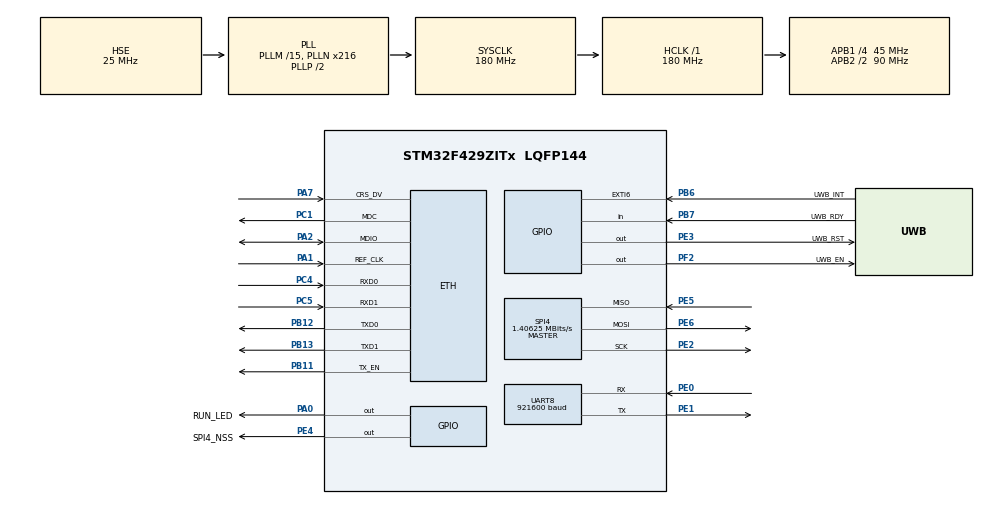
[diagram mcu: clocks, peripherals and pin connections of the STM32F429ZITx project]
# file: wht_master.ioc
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Dma.Request0=UART8_TX
Dma.UART8_TX.0.Direction=DMA_MEMORY_TO_PERIPH
Dma.UART8_TX.0.FIFOMode=DMA_FIFOMODE_DISABLE
Dma.UART8_TX.0.Instance=DMA1_Stream0
Dma.UART8_TX.0.MemDataAlignment=DMA_MDATAALIGN_BYTE
Dma.UART8_TX.0.MemInc=DMA_MINC_ENABLE
Dma.UART8_TX.0.Mode=DMA_NORMAL
Dma.UART8_TX.0.PeriphDataAlignment=DMA_PDATAALIGN_BYTE
Dma.UART8_TX.0.PeriphInc=DMA_PINC_DISABLE
Dma.UART8_TX.0.Priority=DMA_PRIORITY_LOW
ETH.MediaInterface=HAL_ETH_RMII_MODE
FREERTOS.Tasks01=defaultTask,24,2048,StartDefaultTask,Default,NULL,Dynamic,NULL,NULL
FREERTOS.configTOTAL_HEAP_SIZE=153600
LWIP.BSP.number=1
LWIP.GATEWAY_ADDRESS=192.168.000.001
LWIP.IP_ADDRESS=192.168.000.002
LWIP.LWIP_DHCP=0
LWIP.LWIP_NETIF_STATUS_CALLBACK=1
LWIP.LWIP_TCP=0
LWIP.MEMP_NUM_PBUF=100
LWIP.MEM_SIZE=10240
LWIP.NETMASK_ADDRESS=255.255.255.000
LWIP.PBUF_POOL_BUFSIZE=1514
LWIP.PBUF_POOL_SIZE=40
LWIP.Version=v2.1.2_Cube
LWIP0.BSP.STBoard=false
LWIP0.BSP.api=BSP_COMPONENT_DRIVER
LWIP0.BSP.component=DP83848
LWIP0.BSP.instance=DP83848
LWIP0.BSP.name=Driver_PHY
LWIP0.BSP.semaphore=S_DP83848
LWIP0.BSP.solution=DP83848
Mcu.Family=STM32F4
Mcu.Name=STM32F429ZITx
Mcu.Package=LQFP144
NVIC.DMA1_Stream0_IRQn=true\:5\:0\:false\:false\:true\:true\:false\:true\:true
NVIC.ETH_IRQn=true\:5\:0\:false\:false\:true\:true\:false\:true\:true
NVIC.EXTI9_5_IRQn=true\:6\:0\:true\:false\:true\:true\:true\:true\:true
NVIC.PriorityGroup=NVIC_PRIORITYGROUP_4
NVIC.TIM6_DAC_IRQn=true\:15\:0\:false\:false\:true\:false\:false\:true\:true
NVIC.TimeBase=TIM6_DAC_IRQn
NVIC.TimeBaseIP=TIM6
NVIC.UART8_IRQn=true\:5\:0\:false\:false\:true\:true\:true\:true\:true
PA0/WKUP.GPIO_Label=RUN_LED
PA0/WKUP.Signal=GPIO_Output
PA1.Mode=RMII
PA1.Signal=ETH_REF_CLK
PA2.Mode=RMII
PA2.Signal=ETH_MDIO
PA7.Mode=RMII
PA7.Signal=ETH_CRS_DV
PB11.Mode=RMII
PB11.Signal=ETH_TX_EN
PB12.Mode=RMII
PB12.Signal=ETH_TXD0
PB13.Mode=RMII
PB13.Signal=ETH_TXD1
PB6.GPIO_Label=UWB_INT
PB6.GPIO_ModeDefaultEXTI=GPIO_MODE_IT_FALLING
PB6.Signal=GPXTI6
PB7.GPIO_Label=UWB_RDY
PB7.Signal=GPIO_Input
PC1.Mode=RMII
PC1.Signal=ETH_MDC
PC4.Mode=RMII
PC4.Signal=ETH_RXD0
PC5.Mode=RMII
PC5.Signal=ETH_RXD1
PE0.Mode=Asynchronous
PE0.Signal=UART8_RX
PE1.Mode=Asynchronous
PE1.Signal=UART8_TX
PE2.Mode=Full_Duplex_Master
PE2.Signal=SPI4_SCK
PE3.GPIO_Label=UWB_RST
PE3.GPIO_Speed=GPIO_SPEED_FREQ_VERY_HIGH
PE3.PinState=GPIO_PIN_SET
PE3.Signal=GPIO_Output
PE4.GPIO_Label=SPI4_NSS
PE4.GPIO_Speed=GPIO_SPEED_FREQ_VERY_HIGH
PE4.PinState=GPIO_PIN_SET
PE4.Signal=GPIO_Output
PE5.Mode=Full_Duplex_Master
PE5.Signal=SPI4_MISO
PE6.Mode=Full_Duplex_Master
PE6.Signal=SPI4_MOSI
PF2.GPIO_Label=UWB_EN
PF2.GPIO_Speed=GPIO_SPEED_FREQ_VERY_HIGH
PF2.PinState=GPIO_PIN_SET
PF2.Signal=GPIO_Output
PH0/OSC_IN.Mode=HSE-External-Oscillator
PH0/OSC_IN.Signal=RCC_OSC_IN
PH1/OSC_OUT.Mode=HSE-External-Oscillator
PH1/OSC_OUT.Signal=RCC_OSC_OUT
ProjectManager.HeapSize=0x200
ProjectManager.StackSize=0x400
ProjectManager.TargetToolchain=CMake
RCC.48MHZClocksFreq_Value=90000000
RCC.AHBFreq_Value=180000000
RCC.APB1CLKDivider=RCC_HCLK_DIV4
RCC.APB1Freq_Value=45000000
RCC.APB1TimFreq_Value=90000000
RCC.APB2CLKDivider=RCC_HCLK_DIV2
RCC.APB2Freq_Value=90000000
RCC.APB2TimFreq_Value=180000000
RCC.CortexFreq_Value=180000000
RCC.HCLKFreq_Value=180000000
RCC.HSE_VALUE=25000000
RCC.HSI_VALUE=16000000
RCC.LSE_VALUE=32768
RCC.PLLM=15
RCC.PLLN=216
RCC.PLLSourceVirtual=RCC_PLLSOURCE_HSE
RCC.SYSCLKFreq_VALUE=180000000
RCC.SYSCLKSource=RCC_SYSCLKSOURCE_PLLCLK
RCC.VCOOutputFreq_Value=360000000
SPI4.BaudRatePrescaler=SPI_BAUDRATEPRESCALER_64
SPI4.CalculateBaudRate=1.40625 MBits/s
SPI4.Direction=SPI_DIRECTION_2LINES
SPI4.Mode=SPI_MODE_MASTER
SPI4.VirtualType=VM_MASTER
TIM2.AutoReloadPreload=TIM_AUTORELOAD_PRELOAD_ENABLE
TIM2.Period=0xFFFFFFFF
TIM2.Prescaler=89
UART8.BaudRate=921600
UART8.VirtualMode=Asynchronous
VP_FREERTOS_VS_CMSIS_V2.Mode=CMSIS_V2
VP_LWIP_VS_Enabled.Mode=Enabled
VP_SYS_VS_tim6.Mode=TIM6
VP_TIM2_VS_ClockSourceINT.Mode=Internal
board=custom

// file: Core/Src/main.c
/* USER CODE BEGIN Header */
/**
 ******************************************************************************
 * @file           : main.c
 * @brief          : Main program body
 ******************************************************************************
 * @attention
 *
 * Copyright (c) 2025 STMicroelectronics.
 * All rights reserved.
 *
 * This software is licensed under terms that can be found in the LICENSE file
 * in the root directory of this software component.
 * If no LICENSE file comes with this software, it is provided AS-IS.
 *
 ******************************************************************************
 */
/* USER CODE END Header */
#include "main.h"
#include "cmsis_os.h"
#include "dma.h"
#include "lwip.h"
#include "spi.h"
#include "tim.h"
#include "usart.h"
#include "gpio.h"

/* USER CODE BEGIN Includes */
#include "elog.h"
/* USER CODE END Includes */

void SystemClock_Config(void);
void MX_FREERTOS_Init(void);

/* USER CODE BEGIN 0 */
void HAL_UART_TxCpltCallback(UART_HandleTypeDef *huart) {
    if (huart->Instance == huart8.Instance) {
        extern osSemaphoreId_t elog_dma_lockHandle;
        osSemaphoreRelease(elog_dma_lockHandle);
    }
}

/* USER CODE END 0 */

int main(void)
{

  /* MCU Configuration--------------------------------------------------------*/

  /* Reset of all peripherals, Initializes the Flash interface and the Systick. */
  HAL_Init();

  /* Configure the system clock */
  SystemClock_Config();

  /* Initialize all configured peripherals */
  MX_GPIO_Init();
  MX_DMA_Init();
  MX_SPI4_Init();
  MX_UART8_Init();
  MX_TIM2_Init();
  /* USER CODE BEGIN 2 */
  elog_init();

  elog_set_fmt(ELOG_LVL_ASSERT, ELOG_FMT_ALL & ~ELOG_FMT_P_INFO);
  elog_set_fmt(ELOG_LVL_ERROR, ELOG_FMT_LVL | ELOG_FMT_TAG | ELOG_FMT_TIME);
  elog_set_fmt(ELOG_LVL_WARN, ELOG_FMT_LVL | ELOG_FMT_TAG | ELOG_FMT_TIME);
  elog_set_fmt(ELOG_LVL_INFO, ELOG_FMT_LVL | ELOG_FMT_TAG | ELOG_FMT_TIME);
  elog_set_fmt(ELOG_LVL_DEBUG, ELOG_FMT_ALL & ~(ELOG_FMT_FUNC | ELOG_FMT_P_INFO));
  elog_set_fmt(ELOG_LVL_VERBOSE, ELOG_FMT_ALL & ~(ELOG_FMT_FUNC | ELOG_FMT_P_INFO));

  elog_start();

  HAL_TIM_Base_Start(&htim2);

  /* USER CODE END 2 */

  /* Init scheduler */
  osKernelInitialize();  /* Call init function for freertos objects (in cmsis_os2.c) */
  MX_FREERTOS_Init();

  /* Start scheduler */
  osKernelStart();

  /* We should never get here as control is now taken by the scheduler */

  /* Infinite loop */
  while (1) {

  }
}

void SystemClock_Config(void)
{
  RCC_OscInitTypeDef RCC_OscInitStruct = {0};
  RCC_ClkInitTypeDef RCC_ClkInitStruct = {0};

  /** Configure the main internal regulator output voltage
  */
  __HAL_RCC_PWR_CLK_ENABLE();
  __HAL_PWR_VOLTAGESCALING_CONFIG(PWR_REGULATOR_VOLTAGE_SCALE1);

  /** Initializes the RCC Oscillators according to the specified parameters
  * in the RCC_OscInitTypeDef structure.
  */
  RCC_OscInitStruct.OscillatorType = RCC_OSCILLATORTYPE_HSE;
  RCC_OscInitStruct.HSEState = RCC_HSE_ON;
  RCC_OscInitStruct.PLL.PLLState = RCC_PLL_ON;
  RCC_OscInitStruct.PLL.PLLSource = RCC_PLLSOURCE_HSE;
  RCC_OscInitStruct.PLL.PLLM = 15;
  RCC_OscInitStruct.PLL.PLLN = 216;
  RCC_OscInitStruct.PLL.PLLP = RCC_PLLP_DIV2;
  RCC_OscInitStruct.PLL.PLLQ = 4;
  if (HAL_RCC_OscConfig(&RCC_OscInitStruct) != HAL_OK)
  {
    Error_Handler();
  }

  /** Activate the Over-Drive mode
  */
  if (HAL_PWREx_EnableOverDrive() != HAL_OK)
  {
    Error_Handler();
  }

  /** Initializes the CPU, AHB and APB buses clocks
  */
  RCC_ClkInitStruct.ClockType = RCC_CLOCKTYPE_HCLK|RCC_CLOCKTYPE_SYSCLK
                              |RCC_CLOCKTYPE_PCLK1|RCC_CLOCKTYPE_PCLK2;
  RCC_ClkInitStruct.SYSCLKSource = RCC_SYSCLKSOURCE_PLLCLK;
  RCC_ClkInitStruct.AHBCLKDivider = RCC_SYSCLK_DIV1;
  RCC_ClkInitStruct.APB1CLKDivider = RCC_HCLK_DIV4;
  RCC_ClkInitStruct.APB2CLKDivider = RCC_HCLK_DIV2;

  if (HAL_RCC_ClockConfig(&RCC_ClkInitStruct, FLASH_LATENCY_5) != HAL_OK)
  {
    Error_Handler();
  }
}

void HAL_TIM_PeriodElapsedCallback(TIM_HandleTypeDef *htim)
{
  if (htim->Instance == TIM6)
  {
    HAL_IncTick();
  }
}

void Error_Handler(void)
{
  __disable_irq();
  while (1) {
  }
}
#ifdef USE_FULL_ASSERT
/**
  * @brief  Reports the name of the source file and the source line number
  *         where the assert_param error has occurred.
  * @param  file: pointer to the source file name
  * @param  line: assert_param error line source number
  * @retval None
  */
void assert_failed(uint8_t *file, uint32_t line)
{
  /* USER CODE BEGIN 6 */
  /* User can add his own implementation to report the file name and line
     number, ex: printf("Wrong parameters value: file %s on line %d\r\n", file,
     line) */
  /* USER CODE END 6 */
}
#endif /* USE_FULL_ASSERT */

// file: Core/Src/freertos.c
/* USER CODE BEGIN Header */
/**
 ******************************************************************************
 * File Name          : freertos.c
 * Description        : Code for freertos applications
 ******************************************************************************
 * @attention
 *
 * Copyright (c) 2025 STMicroelectronics.
 * All rights reserved.
 *
 * This software is licensed under terms that can be found in the LICENSE file
 * in the root directory of this software component.
 * If no LICENSE file comes with this software, it is provided AS-IS.
 *
 ******************************************************************************
 */
/* USER CODE END Header */

#include "FreeRTOS.h"

#include "cmsis_os.h"
#include "main.h"
#include "task.h"

/* USER CODE BEGIN Includes */
#include <stdio.h>

#include "gpio.h"
#include "usart.h"
#include "elog.h"

/* USER CODE END Includes */

/* USER CODE BEGIN PTD */
typedef StaticTask_t osStaticThreadDef_t;
/* USER CODE END PTD */

/* Definitions for defaultTask */
osThreadId_t defaultTaskHandle;
const osThreadAttr_t defaultTask_attributes = {
    .name = "defaultTask",
    .stack_size = 1024 * 4,
    .priority = (osPriority_t)osPriorityNormal,
};

/* Definitions for elog */
osThreadId_t elogHandle;
uint32_t elogBuffer[512];
osStaticThreadDef_t elogControlBlock;
const osThreadAttr_t elog_attributes = {
    .name = "elog",
    .stack_mem = &elogBuffer[0],
    .stack_size = sizeof(elogBuffer),
    .cb_mem = &elogControlBlock,
    .cb_size = sizeof(elogControlBlock),
    .priority = (osPriority_t)osPriorityLow,
};
/* Definitions for elog_lock */
osSemaphoreId_t elog_lockHandle;
const osSemaphoreAttr_t elog_lock_attributes = {.name = "elog_lock"};
/* Definitions for elog_async */
osSemaphoreId_t elog_asyncHandle;
const osSemaphoreAttr_t elog_async_attributes = {.name = "elog_async"};
/* Definitions for elog_dma_lock */
osSemaphoreId_t elog_dma_lockHandle;
const osSemaphoreAttr_t elog_dma_lock_attributes = {.name = "elog_dma_lock"};

/* USER CODE BEGIN FunctionPrototypes */

extern int main_app(void);
extern void elog_entry(void *argument);
/* USER CODE END FunctionPrototypes */

void StartDefaultTask(void *argument);

extern void MX_LWIP_Init(void);
void MX_FREERTOS_Init(void); /* (MISRA C 2004 rule 8.1) */

void MX_FREERTOS_Init(void) {

    /* USER CODE BEGIN RTOS_SEMAPHORES */
    /* add semaphores, ... */
    /* creation of elog_lock */
    elog_lockHandle = osSemaphoreNew(1, 1, &elog_lock_attributes);

    /* creation of elog_async */
    elog_asyncHandle = osSemaphoreNew(1, 1, &elog_async_attributes);

    /* creation of elog_dma_lock */
    elog_dma_lockHandle = osSemaphoreNew(1, 1, &elog_dma_lock_attributes);

    /* USER CODE END RTOS_SEMAPHORES */

    /* Create the thread(s) */
    /* creation of defaultTask */
    defaultTaskHandle =
        osThreadNew(StartDefaultTask, NULL, &defaultTask_attributes);
    /* creation of elog */
    elogHandle = osThreadNew(elog_entry, NULL, &elog_attributes);

}

void StartDefaultTask(void *argument) {
    /* init code for LWIP */
    MX_LWIP_Init();
    /* USER CODE BEGIN StartDefaultTask */
    main_app();

    /* Infinite loop */
    for (;;) {
        HAL_GPIO_TogglePin(GPIOA, GPIO_PIN_0);
        osDelay(500);
    }
    /* USER CODE END StartDefaultTask */
}

/* USER CODE BEGIN Application */

int __io_putchar(int ch) {
    HAL_UART_Transmit(&huart8, (uint8_t *)&ch, 1, HAL_MAX_DELAY);
    return ch;
}

/* USER CODE END Application */
